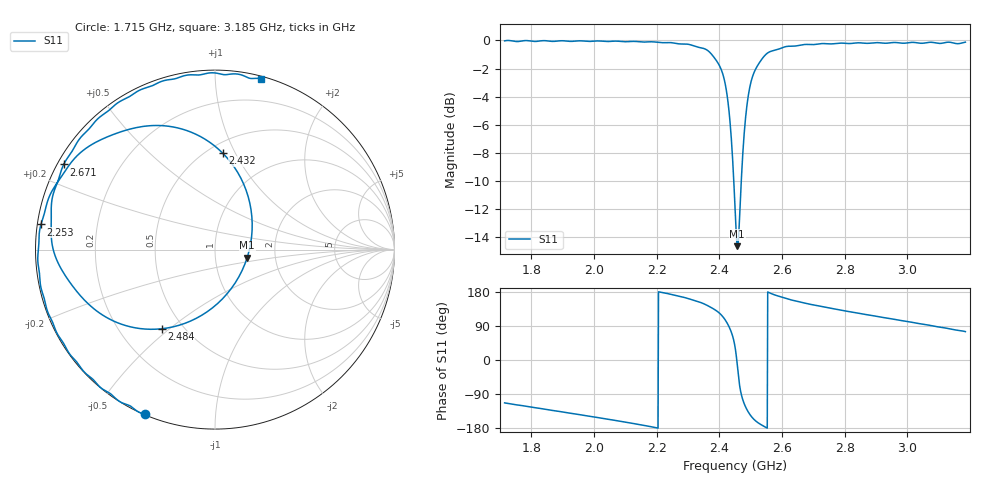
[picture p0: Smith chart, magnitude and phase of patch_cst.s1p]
! TOUCHSTONE file generated by CST MICROWAVE STUDIO
! Date and time: Wed Aug  5 17:50:12 2026
! Project name: patch.cst
! Parameters = {c0=299.792; feed_line_length=16.8; feed_line_width=2.8; frequency_centre=2.45; groundplane_feed_extension=7.6; groundplane_length=80.4; groundplane_width=74.8; matching_line_length=17.6; matching_line_width=0.4; metal_thickness=0.1; patch_length=26.8; patch_width=37.4; relative_permi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
! Header version: 2024
! Port assignment regex: !\s*Touchstone port\s*([0-9]+)\s*=\s*(CST MWS port|CST DES external port|CST DES block port)\s*(.+)\s* \(\"(.*)\"\)(\s*mode\s*([0-9]+))?.*
! Touchstone port assignment:
! Touchstone port 1 = CST MWS port 1 ("")
# GHz S MA R 50
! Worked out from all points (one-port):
!   1001 points, 1.715 GHz to 3.185 GHz, reference 50 ohm
!   lowest |S11| = -14.7 dB at 2.457 GHz (marker M1), VSWR 1.45, Z = 71.5 - j6.66 ohm
!   |S11| at or under -10 dB: 2.446 GHz to 2.47 GHz (24.05 MHz wide, 0.978 % of centre)
!   S11 on the Smith chart (normalised r, x): 1.715 GHz: 0.00, -0.66; 2.253 GHz: 0.01, +0.07; 2.432 GHz: 0.59, +0.89; 2.484 GHz: 0.38, -0.47; 2.671 GHz: 0.02, +0.26; 3.185 GHz: 0.02, +1.31
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1.715  0.9968 -113.2
1.89875  0.9978 -137.1
2.0825  0.9926 -161.6
2.18246  0.9893 -176.1
2.25302  0.9798 171.8
2.26625  0.9739 169.3
2.32652  0.9498 155.6
2.36768  0.9113 141.3
2.39267  0.8411 128.8
2.41031  0.7638 115.1
2.42207  0.6677 101.5
2.43236  0.5388 85.4
2.44118  0.3985 66.4
2.45  0.2536 35.2
2.45735  0.1847 -14.1
2.46323  0.2166 -58.6
2.47058  0.3244 -92.4
2.48381  0.5316 -123.9
2.49557  0.667 -141.5
2.50733  0.7512 -154.0
2.53673  0.861 -172.4
2.56613  0.9159 175.1
2.63375  0.954 157.6
2.6705  0.9673 150.6
2.8175  0.9752 127.3
2.9057  0.9822 114.6
3.00125  0.9807 101.5
3.185  0.9863 74.9
